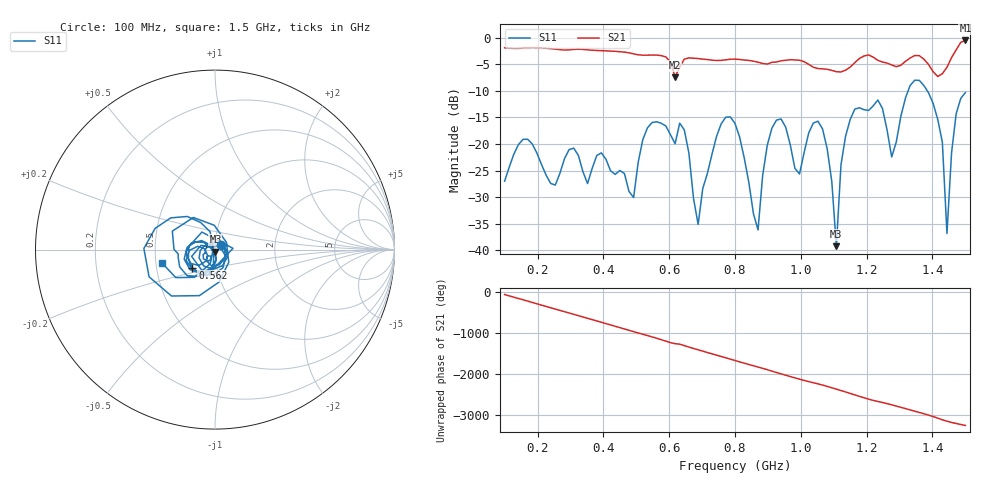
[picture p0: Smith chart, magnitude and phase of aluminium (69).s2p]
! NanoVNA-App
! Date: 2025-09-25 14:55:49
! Start: 100MHz Stop: 1,5GHz Points: 101
! S-Parameter data: F S11 S21 S12 S22
# Hz S RI R 50
!  Frequency  S11_Real  S11_Imag  S21_Real  S21_Imag  S12_Real  S12_Imag  S22_Real  S22_Imag
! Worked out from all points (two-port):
!   101 points, 100 MHz to 1.5 GHz, reference 50 ohm
!   highest |S21| = -0.54 dB at 1.5 GHz (marker M1); lowest = -7.4 dB at 618 MHz (marker M2)
!   |S21| within 3 dB of the highest: start of sweep to 584.4 MHz; 1.46 GHz to end of sweep (the widest 2 of 4)
!   lowest |S11| = -39.2 dB at 1.108 GHz (marker M3), VSWR 1.02, Z = 50.2 - j1.07 ohm
!   |S11| at or under -10 dB: start of sweep to 1.326 GHz; 1.384 GHz to end of sweep
!   S12 and S22 are empty: the file has one direction only
!   S11 on the Smith chart (normalised r, x): 100 MHz: 1.07, +0.06; 562 MHz: 0.76, -0.16; 1.5 GHz: 0.54, -0.09
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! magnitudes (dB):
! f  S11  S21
! 100 MHz  -27.0  -1.9
! 338 MHz  -25.2  -2.2
! 492 MHz  -30.1  -3.1
! 562 MHz  -15.8  -3.3
! 576 MHz  -16.1  -3.4
! 618 MHz  -20.0  -7.4
! 688 MHz  -35.1  -3.9
! 800 MHz  -16.1  -4.0
! 870 MHz  -36.2  -4.6
! 912 MHz  -17.0  -4.6
! 996 MHz  -25.6  -4.3
! 1.038 GHz  -16.1  -5.6
! 1.08 GHz  -20.9  -6.0
! 1.108 GHz  -39.2  -6.4
! 1.122 GHz  -23.9  -6.5
! 1.164 GHz  -13.4  -4.7
! 1.276 GHz  -22.4  -5.1
! 1.374 GHz  -9.0  -4.1
! 1.43 GHz  -19.7  -6.8
! 1.444 GHz  -36.8  -5.6
! 1.472 GHz  -14.3  -2.3
! 1.5 GHz  -10.3  -0.5
